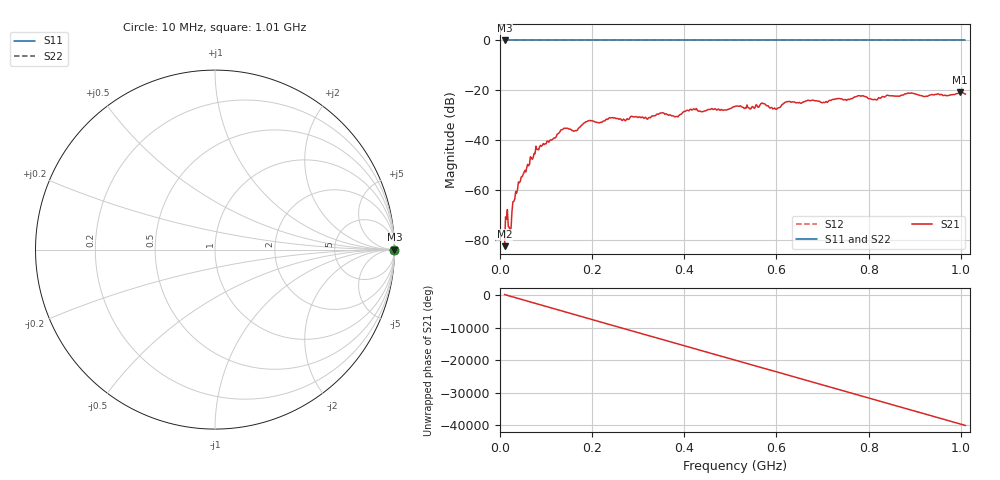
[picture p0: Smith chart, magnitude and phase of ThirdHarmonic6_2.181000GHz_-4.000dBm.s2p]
! 8/17/2025 2:00:38 AM
! C:\ANRITSUVNA\TEMP\TEMP.S2P
! CHANNEL.1
! TR.MEASUREMENT
! RAW.DATA
! RF.CORRECTION.OFF
! AVERAGING.OFF
! IF.BANDWIDTH: 5KHZ
! SWEEPTYPE:  FREQ.SWEEP(Linear)
! Reference Plane Port Info
! PORT:  PORT1  PORT2
! DISTANCE:  0  m  0  m
! TIME:  0  s  0  s
! PHASE.OFFSET:  0  deg.  0  deg.
! LOSS:  0  dB  0  dB
! REF.LOSS:  0  dB  0  dB
! REF.FREQ:  0  Hz  0  Hz
! Power Info
! POWER:  -20  dBm  -20  dBm
! EFF.POWER:  -20  dBm  -20  dBm
! SOURCE.ATTEN:  0  dB  0  dB
! TEST.ATTEN:  0  dB  0  dB
# GHZ S RI R 50.0
! FREQ.GHZ  S11RE  S11IM  S21RE  S21IM  S12RE  S12IM  S22RE  S22IM
!; PortSelection: Port_12
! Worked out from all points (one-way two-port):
!   501 points, 10 MHz to 1.01 GHz, reference 50 ohm
!   highest |S21| = -20.71 dB at 998 MHz (marker M1); lowest = -82.4 dB at 10 MHz (marker M2)
!   lowest |S11| = 0.0 dB at 10 MHz (marker M3)
!   |S11| at or under -10 dB: nowhere
!   |S22| runs from 0.0 to 0.0 dB; largest |S21 - S12| = 1.1
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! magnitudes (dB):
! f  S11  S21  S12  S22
! 10 MHz  0.0  -82.4  0.0  0.0
! 16 MHz  0.0  -67.7  0.0  0.0
! 22 MHz  0.0  -76.3  0.0  0.0
! 30 MHz  0.0  -64.5  0.0  0.0
! 44 MHz  0.0  -56.4  0.0  0.0
! 78 MHz  0.0  -42.3  0.0  0.0
! 136 MHz  0.0  -35.7  0.0  0.0
! 164 MHz  0.0  -36.0  0.0  0.0
! 178 MHz  0.0  -33.8  0.0  0.0
! 344 MHz  0.0  -29.5  0.0  0.0
! 382 MHz  0.0  -30.5  0.0  0.0
! 416 MHz  0.0  -27.9  0.0  0.0
! 510 MHz  0.0  -26.5  0.0  0.0
! 570 MHz  0.0  -25.1  0.0  0.0
! 596 MHz  0.0  -27.0  0.0  0.0
! 624 MHz  0.0  -24.5  0.0  0.0
! 678 MHz  0.0  -23.9  0.0  0.0
! 782 MHz  0.0  -22.2  0.0  0.0
! 814 MHz  0.0  -23.5  0.0  0.0
! 844 MHz  0.0  -22.1  0.0  0.0
! 998 MHz  0.0  -20.7  0.0  0.0
! 1.01 GHz  0.0  -21.5  0.0  0.0
